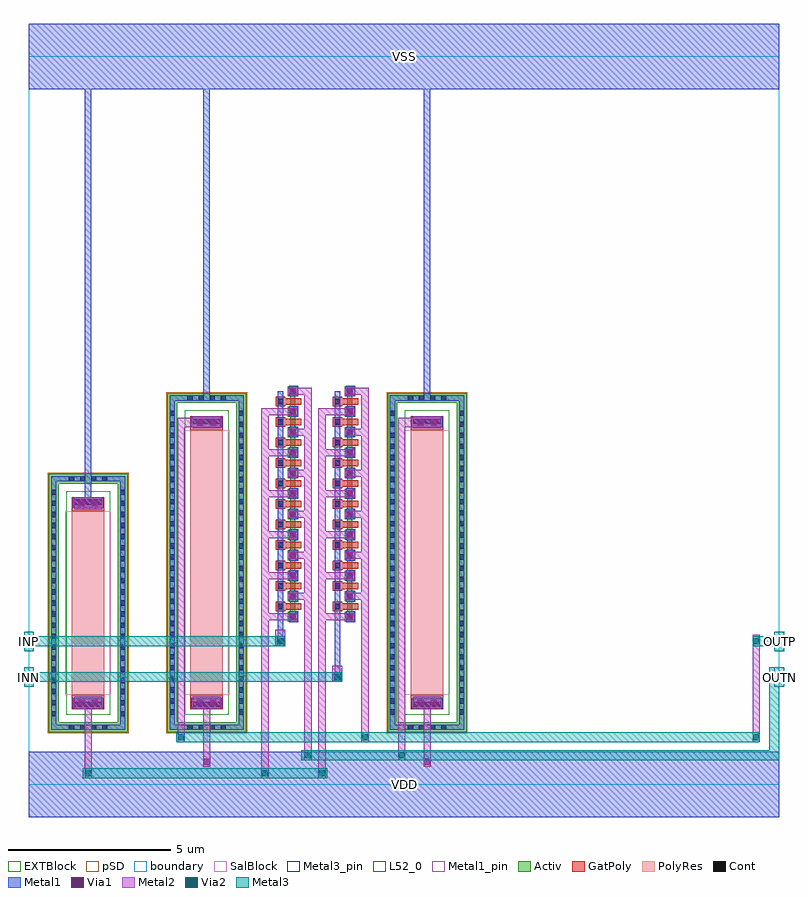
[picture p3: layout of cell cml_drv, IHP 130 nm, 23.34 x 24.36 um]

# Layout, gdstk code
from math import pi, radians
import gdstk
lib = gdstk.Library(unit=1e-6, precision=1e-09)
def R(c, l, rs):  # rectangles x0, y0, x1, y1
    for r in rs: c.add(gdstk.rectangle(r[:2], r[2:], *l))
def A(c, l, x, y, w, h, nx, ny, dx, dy):  # array of equal rectangles
    R(c, l, [(x+i*dx, y+j*dy, x+i*dx+w, y+j*dy+h) for i in range(nx) for j in range(ny)])
Activ = (1, 0)
GatPoly = (5, 0)
Cont = (6, 0)
Metal1 = (8, 0)
Metal1_pin = (8, 2)
Metal2 = (10, 0)
pSD = (14, 0)
Via1 = (19, 0)
SalBlock = (28, 0)
Via2 = (29, 0)
Metal3 = (30, 0)
Metal3_pin = (30, 2)
L52_0 = (52, 0)
EXTBlock = (111, 0)
PolyRes = (128, 0)
boundary = (189, 4)

sg13_lv_nmos_mzq2e7 = lib.new_cell('sg13_lv_nmos_MZQ2E7')
A(sg13_lv_nmos_mzq2e7, Activ, -3.615, -0.02, 0.3, 0.07, 12, 2, 0.63, 0.23)
R(sg13_lv_nmos_mzq2e7, Activ, [(-3.615,0.05,3.615,0.21)])
A(sg13_lv_nmos_mzq2e7, GatPoly, -3.3, -0.39, 0.3, 0.3, 11, 1, 0.63, 0)
A(sg13_lv_nmos_mzq2e7, GatPoly, -3.245, -0.09, 0.19, 0.48, 11, 1, 0.63, 0)
A(sg13_lv_nmos_mzq2e7, Cont, -3.23, -0.32, 0.16, 0.16, 11, 1, 0.63, 0)
A(sg13_lv_nmos_mzq2e7, Cont, -3.545, 0.05, 0.16, 0.16, 12, 1, 0.63, 0)
A(sg13_lv_nmos_mzq2e7, Metal1, -3.595, 0.05, 0.26, 0.16, 12, 1, 0.63, 0)
R(sg13_lv_nmos_mzq2e7, Metal1, [(-3.465,-0.32,3.465,-0.16)])
sg13_lv_nmos_mzq2e7.add(gdstk.Label('G', (3.15,-0.24), layer=8, texttype=25))
sg13_lv_nmos_mzq2e7.add(gdstk.Label('G', (2.52,-0.24), layer=8, texttype=25))
sg13_lv_nmos_mzq2e7.add(gdstk.Label('G', (1.89,-0.24), layer=8, texttype=25))
sg13_lv_nmos_mzq2e7.add(gdstk.Label('G', (1.26,-0.24), layer=8, texttype=25))
sg13_lv_nmos_mzq2e7.add(gdstk.Label('G', (0.63,-0.24), layer=8, texttype=25))
sg13_lv_nmos_mzq2e7.add(gdstk.Label('G', (0,-0.24), layer=8, texttype=25))
sg13_lv_nmos_mzq2e7.add(gdstk.Label('G', (-0.63,-0.24), layer=8, texttype=25))
sg13_lv_nmos_mzq2e7.add(gdstk.Label('G', (-1.26,-0.24), layer=8, texttype=25))
sg13_lv_nmos_mzq2e7.add(gdstk.Label('G', (-1.89,-0.24), layer=8, texttype=25))
sg13_lv_nmos_mzq2e7.add(gdstk.Label('G', (-2.52,-0.24), layer=8, texttype=25))
sg13_lv_nmos_mzq2e7.add(gdstk.Label('G', (-3.15,-0.24), layer=8, texttype=25))
sg13_lv_nmos_mzq2e7.add(gdstk.Label('D0', (-3.465,0.13), layer=8, texttype=25))
sg13_lv_nmos_mzq2e7.add(gdstk.Label('S1', (-2.835,0.13), layer=8, texttype=25))
sg13_lv_nmos_mzq2e7.add(gdstk.Label('D2', (-2.205,0.13), layer=8, texttype=25))
sg13_lv_nmos_mzq2e7.add(gdstk.Label('S3', (-1.575,0.13), layer=8, texttype=25))
sg13_lv_nmos_mzq2e7.add(gdstk.Label('D4', (-0.945,0.13), layer=8, texttype=25))
sg13_lv_nmos_mzq2e7.add(gdstk.Label('S5', (-0.315,0.13), layer=8, texttype=25))
sg13_lv_nmos_mzq2e7.add(gdstk.Label('D6', (0.315,0.13), layer=8, texttype=25))
sg13_lv_nmos_mzq2e7.add(gdstk.Label('S7', (0.945,0.13), layer=8, texttype=25))
sg13_lv_nmos_mzq2e7.add(gdstk.Label('D8', (1.575,0.13), layer=8, texttype=25))
sg13_lv_nmos_mzq2e7.add(gdstk.Label('S9', (2.205,0.13), layer=8, texttype=25))
sg13_lv_nmos_mzq2e7.add(gdstk.Label('D10', (2.835,0.13), layer=8, texttype=25))
sg13_lv_nmos_mzq2e7.add(gdstk.Label('S10', (3.465,0.13), layer=8, texttype=25))

rppd_kgsvtb = lib.new_cell('rppd_KGSVTB')
R(rppd_kgsvtb, Activ, [(-1.21,-5.205,1.21,-4.905), (-1.21,-4.905,-0.91,4.905), (0.91,-4.905,1.21,4.905), (-1.21,4.905,1.21,5.205)])
R(rppd_kgsvtb, GatPoly, [(-0.5,-4.495,0.5,-4.065), (-0.5,4.065,0.5,4.495)])
A(rppd_kgsvtb, Cont, -0.59, -5.135, 0.16, 0.16, 4, 2, 0.34, 10.11)
A(rppd_kgsvtb, Cont, -1.14, -4.67, 0.16, 0.16, 1, 28, 0, 0.34)
A(rppd_kgsvtb, Cont, 0.98, -4.67, 0.16, 0.16, 1, 28, 0, 0.34)
R(rppd_kgsvtb, Cont, [(-0.43,-4.425,0.43,-4.265), (-0.43,4.265,0.43,4.425)])
R(rppd_kgsvtb, Metal1, [(-1.14,-5.135,1.14,-4.975), (-1.14,-4.975,-0.98,4.975), (0.98,-4.975,1.14,4.975), (-0.48,-4.475,0.48,-4.16), (-0.48,4.16,0.48,4.475), (-1.14,4.975,1.14,5.135)])
R(rppd_kgsvtb, Metal2, [(-0.43,-4.49,0.43,-4.12), (-0.43,4.12,0.43,4.49)])
R(rppd_kgsvtb, pSD, [(-1.24,-5.235,1.24,5.235)])
R(rppd_kgsvtb, Via1, [(-0.3,-4.4,-0.11,-4.21), (0.11,-4.4,0.3,-4.21), (-0.3,4.21,-0.11,4.4), (0.11,4.21,0.3,4.4)])
R(rppd_kgsvtb, SalBlock, [(-0.7,-4.065,0.7,4.065)])
R(rppd_kgsvtb, L52_0, [(-0.5,-4.065,0.5,4.065)])
R(rppd_kgsvtb, EXTBlock, [(-0.68,-4.675,0.68,4.675)])
R(rppd_kgsvtb, PolyRes, [(-0.5,-4.065,0.5,4.065)])
R(rppd_kgsvtb, boundary, [(-1.06,-5.055,1.06,5.055)])
rppd_kgsvtb.add(gdstk.Label('B', (0,-5.055), layer=8, texttype=25))
rppd_kgsvtb.add(gdstk.Label('R1', (0,4.345), layer=8, texttype=25))
rppd_kgsvtb.add(gdstk.Label('R2', (0,-4.345), layer=8, texttype=25))

rppd_wt5rt4 = lib.new_cell('rppd_WT5RT4')
R(rppd_wt5rt4, Activ, [(-1.21,-3.965,1.21,-3.665), (-1.21,-3.665,-0.91,3.665), (0.91,-3.665,1.21,3.665), (-1.21,3.665,1.21,3.965)])
R(rppd_wt5rt4, GatPoly, [(-0.5,-3.255,0.5,-2.825), (-0.5,2.825,0.5,3.255)])
A(rppd_wt5rt4, Cont, -0.59, -3.895, 0.16, 0.16, 4, 2, 0.34, 7.63)
A(rppd_wt5rt4, Cont, -1.14, -3.48, 0.16, 0.16, 1, 21, 0, 0.34)
A(rppd_wt5rt4, Cont, 0.98, -3.48, 0.16, 0.16, 1, 21, 0, 0.34)
R(rppd_wt5rt4, Cont, [(-0.43,-3.185,0.43,-3.025), (-0.43,3.025,0.43,3.185)])
R(rppd_wt5rt4, Metal1, [(-1.14,-3.895,1.14,-3.735), (-1.14,-3.735,-0.98,3.735), (0.98,-3.735,1.14,3.735), (-0.48,-3.235,0.48,-2.92), (-0.48,2.92,0.48,3.235), (-1.14,3.735,1.14,3.895)])
R(rppd_wt5rt4, Metal2, [(-0.43,-3.25,0.43,-2.88), (-0.43,2.88,0.43,3.25)])
R(rppd_wt5rt4, pSD, [(-1.24,-3.995,1.24,3.995)])
R(rppd_wt5rt4, Via1, [(-0.3,-3.16,-0.11,-2.97), (0.11,-3.16,0.3,-2.97), (-0.3,2.97,-0.11,3.16), (0.11,2.97,0.3,3.16)])
R(rppd_wt5rt4, SalBlock, [(-0.7,-2.825,0.7,2.825)])
R(rppd_wt5rt4, L52_0, [(-0.5,-2.825,0.5,2.825)])
R(rppd_wt5rt4, EXTBlock, [(-0.68,-3.435,0.68,3.435)])
R(rppd_wt5rt4, PolyRes, [(-0.5,-2.825,0.5,2.825)])
R(rppd_wt5rt4, boundary, [(-1.06,-3.815,1.06,3.815)])
rppd_wt5rt4.add(gdstk.Label('B', (0,-3.815), layer=8, texttype=25))
rppd_wt5rt4.add(gdstk.Label('R1', (0,3.105), layer=8, texttype=25))
rppd_wt5rt4.add(gdstk.Label('R2', (0,-3.105), layer=8, texttype=25))

cml_drv = lib.new_cell('cml_drv')
A(cml_drv, Metal1, 7.99, 4.99, 0.29, 0.33, 1, 12, 0, 0.63)
A(cml_drv, Metal1, 9.74, 4.99, 0.29, 0.33, 1, 12, 0, 0.63)
R(cml_drv, Metal1, [(0,-1,23.04,1), (9.36,3.15,9.59,3.45), (9.4,3.45,9.56,5.2), (7.61,4.25,7.84,4.55), (7.65,4.55,7.81,5.2), (1.72,8.55,1.92,21.36), (5.36,11.83,5.56,21.36), (12.13,11.83,12.33,21.36), (0,21.36,23.04,23.36)])
R(cml_drv, Metal1_pin, [(0,-1,23.04,1), (0,21.36,23.04,23.36)])
A(cml_drv, Metal2, 7.14, 5.04, 1.11, 0.22, 1, 6, 0, 1.26)
A(cml_drv, Metal2, 8.89, 5.04, 1.11, 0.22, 1, 6, 0, 1.26)
A(cml_drv, Metal2, 7.14, 5.26, 0.22, 1.04, 1, 5, 0, 1.26)
A(cml_drv, Metal2, 8.89, 5.26, 0.22, 1.04, 1, 5, 0, 1.26)
A(cml_drv, Metal2, 7.95, 5.67, 0.73, 0.22, 1, 6, 0, 1.26)
A(cml_drv, Metal2, 9.7, 5.67, 0.73, 0.22, 1, 6, 0, 1.26)
A(cml_drv, Metal2, 8.46, 5.89, 0.22, 1.04, 1, 5, 0, 1.26)
A(cml_drv, Metal2, 10.21, 5.89, 0.22, 1.04, 1, 5, 0, 1.26)
R(cml_drv, Metal2, [(1.71,0.2,1.93,2.6), (7.14,0.2,7.36,5.04), (8.89,0.2,9.11,5.04), (5.35,0.55,5.57,2.6), (12.12,0.55,12.34,2.6), (8.46,0.75,8.68,5.67), (11.34,0.75,11.56,10.98), (4.57,1.3,4.79,10.98), (10.21,1.3,10.43,5.67), (22.23,1.3,22.45,4.6), (9.32,3.15,9.63,3.65), (7.57,4.25,7.88,4.75), (4.57,10.98,5.89,11.26), (11.34,10.98,12.66,11.26)])
A(cml_drv, Via1, 8.005, 5.055, 0.19, 0.19, 1, 12, 0, 0.63)
A(cml_drv, Via1, 9.755, 5.055, 0.19, 0.19, 1, 12, 0, 0.63)
R(cml_drv, Via1, [(5.365,0.605,5.555,0.795), (12.135,0.605,12.325,0.795), (9.385,3.205,9.575,3.395), (7.635,4.305,7.825,4.495)])
R(cml_drv, Via2, [(1.725,0.255,1.915,0.445), (7.155,0.255,7.345,0.445), (8.905,0.255,9.095,0.445), (8.475,0.805,8.665,0.995), (11.355,0.805,11.545,0.995), (4.585,1.355,4.775,1.545), (10.225,1.355,10.415,1.545), (22.245,1.355,22.435,1.545), (9.385,3.205,9.575,3.395), (7.635,4.305,7.825,4.495), (22.245,4.305,22.435,4.495)])
R(cml_drv, Metal3, [(1.66,0.2,9.16,0.5), (8.36,0.75,23.04,1.05), (22.74,1.05,23.04,3), (4.52,1.3,22.45,1.6), (-0.15,3,0.15,3.15), (22.74,3,23.19,3.6), (-0.15,3.15,9.63,3.45), (-0.15,3.45,0.15,3.6), (-0.15,4.1,0.15,4.25), (22.89,4.1,23.19,4.25), (-0.15,4.25,7.88,4.55), (22.23,4.25,23.19,4.55), (-0.15,4.55,0.15,4.7), (22.89,4.55,23.19,4.7)])
R(cml_drv, Metal3_pin, [(-0.15,3,0.15,3.6), (22.89,3,23.19,3.6), (-0.15,4.1,0.15,4.7), (22.89,4.1,23.19,4.7)])
R(cml_drv, boundary, [(0,0,23.04,22.36)])
cml_drv.add(gdstk.Reference(sg13_lv_nmos_mzq2e7, (9.72,8.615), rotation=3*pi/2))
cml_drv.add(gdstk.Reference(sg13_lv_nmos_mzq2e7, (7.97,8.615), rotation=3*pi/2))
cml_drv.add(gdstk.Reference(rppd_kgsvtb, (5.46,6.815), rotation=pi))
cml_drv.add(gdstk.Reference(rppd_kgsvtb, (12.23,6.815), rotation=pi))
cml_drv.add(gdstk.Reference(rppd_wt5rt4, (1.82,5.575), rotation=pi))
cml_drv.add(gdstk.Label('VDD', (11.52,0), layer=8, texttype=25))
cml_drv.add(gdstk.Label('VSS', (11.52,22.36), layer=8, texttype=25))
cml_drv.add(gdstk.Label('INN', (0,3.3), layer=30, texttype=25))
cml_drv.add(gdstk.Label('INP', (0,4.4), layer=30, texttype=25))
cml_drv.add(gdstk.Label('OUTN', (23.04,3.3), layer=30, texttype=25))
cml_drv.add(gdstk.Label('OUTP', (23.04,4.4), layer=30, texttype=25))

lib.write_gds('cml_drv.gds')
